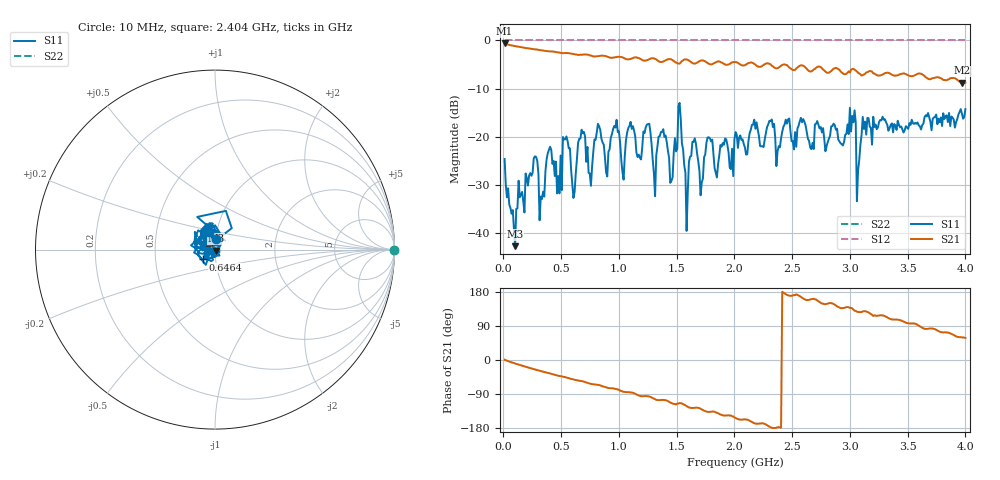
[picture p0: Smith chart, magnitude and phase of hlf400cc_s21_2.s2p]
! Anritsu VNA Master:  Model: MS2024B
! SN:  2417009
! /card0/usr/hlf400cc_s21_2.s2p
! Existing Calibration Information:
! TYPE:  Current Settings,  Active Cal Settings
! TIME:  10/07/2026 01:51:31 AM,  10/07/2026 01:30:09 AM
! INTERNAL TEMP:  49.5 C,  49.0 C
! # POINTS:  396,  396
! START FREQ:  10.000 MHz,  10.000 MHz
! STOP FREQ:  4.000 GHz,  4.000 GHz
! SOURCE POWER:  Default,  Default
! IFBW:  1 kHz,  1 kHz
! AVG FACTOR:  16 ,  16
! REF PLANE 1:  0 mm,  0 mm
! REF PLANE 2:  0 mm,  0 mm
! CAL TYPE:  1P2P S11,S21,  1P2P S11,S21
! CAL METHOD:  SOLT,  SOLT
! CAL LINE TYPE:  Coax,  Coax
! DUT PORT 1:  N-Conn(M),  N-Conn(M)
! DUT PORT 2:  N-Conn(M),  N-Conn(M)
! CAL STATUS:  OK: Accuracy High,  --
# GHZ S DB R 50.0
! FREQ.GHZ  S11DB  S11A  S21DB  S21A  S12DB  S12A  S22DB  S22A
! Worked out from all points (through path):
!   396 points, 10 MHz to 4 GHz, reference 50 ohm
!   highest |S21| = -0.56 dB at 10 MHz (marker M1); lowest = -8.8 dB at 3.97 GHz (marker M2)
!   group delay of S21, straight-line fit = 204 ps
!   lowest |S11| = -42.8 dB at 100.9 MHz (marker M3), VSWR 1.01, Z = 50.5 - j0.526 ohm
!   |S11| at or under -10 dB: start of sweep to end of sweep
!   |S22| runs from 0.0 to 0.0 dB; largest |S21 - S12| = 1.6
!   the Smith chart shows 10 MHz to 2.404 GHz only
!   S11 on the Smith chart (normalised r, x): 10 MHz: 1.00, +0.12; 646.4 MHz: 0.87, -0.10; 2.404 GHz: 0.93, +0.18
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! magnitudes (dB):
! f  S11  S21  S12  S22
! 10 MHz  -24.7  -0.6  0.0  0.0
! 100.9 MHz  -42.8  -1.2  0.0  0.0
! 131.2 MHz  -29.2  -1.3  0.0  0.0
! 646.4 MHz  -21.3  -3.0  0.0  0.0
! 676.7 MHz  -18.6  -3.0  0.0  0.0
! 757.5 MHz  -30.2  -3.2  0.0  0.0
! 1.263 GHz  -17.3  -3.9  0.0  0.0
! 1.313 GHz  -32.4  -3.8  0.0  0.0
! 1.343 GHz  -20.0  -4.3  0.0  0.0
! 1.444 GHz  -29.6  -3.9  0.0  0.0
! 1.525 GHz  -13.0  -4.8  0.0  0.0
! 1.586 GHz  -39.6  -4.0  0.0  0.0
! 1.636 GHz  -21.1  -4.7  0.0  0.0
! 2.01 GHz  -19.1  -4.5  0.0  0.0
! 2.404 GHz  -20.3  -5.2  0.0  0.0
! 2.677 GHz  -21.3  -6.3  0.0  0.0
! 3.04 GHz  -14.5  -6.1  0.0  0.0
! 3.061 GHz  -33.4  -6.4  0.0  0.0
! 3.111 GHz  -15.9  -7.2  0.0  0.0
! 3.343 GHz  -18.3  -6.8  0.0  0.0
! 3.97 GHz  -15.2  -8.8  0.0  0.0
! 4 GHz  -14.3  -8.8  0.0  0.0
